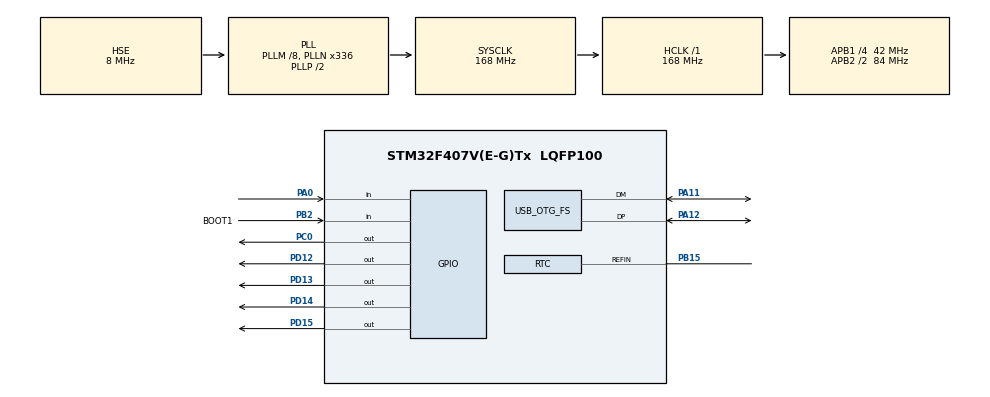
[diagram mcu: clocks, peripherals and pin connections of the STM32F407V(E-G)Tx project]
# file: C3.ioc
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Mcu.Family=STM32F4
Mcu.Name=STM32F407V(E-G)Tx
Mcu.Package=LQFP100
NVIC.OTG_FS_IRQn=true\:0\:0\:false\:false\:true\:false
NVIC.PriorityGroup=NVIC_PRIORITYGROUP_0
PA0-WKUP.Signal=GPIO_Input
PA11.Mode=Host_Only
PA11.Signal=USB_OTG_FS_DM
PA12.Mode=Host_Only
PA12.Signal=USB_OTG_FS_DP
PA13.GPIO_Label=SWDIO
PA13.Mode=Trace_Asynchronous_SW
PA13.Signal=SYS_JTMS-SWDIO
PA14.GPIO_Label=SWCLK
PA14.Mode=Trace_Asynchronous_SW
PA14.Signal=SYS_JTCK-SWCLK
PB15.Mode=Reference_Clock_Detection_Activate
PB15.Signal=RTC_REFIN
PB2.GPIO_Label=BOOT1
PB2.GPIO_Mode=GPIO_MODE_INPUT
PB2.GPIO_PuPd=GPIO_NOPULL
PB2.Signal=GPIO_Input
PB3.GPIO_Label=SWO
PB3.Mode=Trace_Asynchronous_SW
PB3.Signal=SYS_JTDO-SWO
PC0.Signal=GPIO_Output
PD12.Signal=GPIO_Output
PD13.Signal=GPIO_Output
PD14.Signal=GPIO_Output
PD15.Signal=GPIO_Output
PH0-OSC_IN.GPIO_Label=PH0-OSC_IN
PH0-OSC_IN.Mode=HSE-External-Oscillator
PH0-OSC_IN.Signal=RCC_OSC_IN
PH1-OSC_OUT.GPIO_Label=PH1-OSC_OUT
PH1-OSC_OUT.Mode=HSE-External-Oscillator
PH1-OSC_OUT.Signal=RCC_OSC_OUT
ProjectManager.HeapSize=0x400
ProjectManager.StackSize=0x400
ProjectManager.TargetToolchain=MDK-ARM V5
RCC.AHBFreq_Value=168000000
RCC.APB1CLKDivider=RCC_HCLK_DIV4
RCC.APB1Freq_Value=42000000
RCC.APB1TimFreq_Value=84000000
RCC.APB2CLKDivider=RCC_HCLK_DIV2
RCC.APB2Freq_Value=84000000
RCC.APB2TimFreq_Value=168000000
RCC.CortexFreq_Value=168000000
RCC.HCLKFreq_Value=168000000
RCC.HSE_VALUE=8000000
RCC.HSI_VALUE=16000000
RCC.LSE_VALUE=32768
RCC.PLLM=8
RCC.PLLN=336
RCC.PLLQ=7
RCC.SYSCLKFreq_VALUE=168000000
RCC.SYSCLKSource=RCC_SYSCLKSOURCE_PLLCLK
RCC.VCOOutputFreq_Value=336000000
USB_HOST.BSP.number=1
USB_HOST.USBH_HandleTypeDef-MSC_FS=hUsbHostFS
USB_HOST.VirtualModeFS=Msc
USB_HOST0.BSP.STBoard=false
USB_HOST0.BSP.api=UnknownBspDriver
USB_HOST0.BSP.i2caddr=0
USB_HOST0.BSP.i2creg=0
USB_HOST0.BSP.instance=PC0
USB_HOST0.BSP.ip=GPIO
USB_HOST0.BSP.mode=Output
USB_HOST0.BSP.name=Drive_VBUS_FS
USB_HOST0.BSP.solution=PC0
USB_OTG_FS.VirtualMode=Host_Only
USB_OTG_FS.phy_itface=HCD_PHY_EMBEDDED
VP_FATFS_VS_USB.Mode=USB
VP_RTC_VS_RTC_Activate.Mode=RTC_Enabled
VP_USB_HOST_VS_USB_HOST_MSC_FS.Mode=MSC_FS
board=STM32F4DISCOVERY

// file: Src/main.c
/**
  ******************************************************************************
  * @file           : main.c
  * @brief          : Main program body
  ******************************************************************************
  * This notice applies to any and all portions of this file
  * that are not between comment pairs USER CODE BEGIN and
  * USER CODE END. Other portions of this file, whether
  * inserted by the user or by software development tools
  * are owned by their respective copyright owners.
  *
  * Copyright (c) 2018 STMicroelectronics International N.V.
  * All rights reserved.
  *
  * Redistribution and use in source and binary forms, with or without
  * modification, are permitted, provided that the following conditions are met:
  *
  * 1. Redistribution of source code must retain the above copyright notice,
  *    this list of conditions and the following disclaimer.
  * 2. Redistributions in binary form must reproduce the above copyright notice,
  *    this list of conditions and the following disclaimer in the documentation
  *    and/or other materials provided with the distribution.
  * 3. Neither the name of STMicroelectronics nor the names of other
  *    contributors to this software may be used to endorse or promote products
  *    derived from this software without specific written permission.
  * 4. This software, including modifications and/or derivative works of this
  *    software, must execute solely and exclusively on microcontroller or
  *    microprocessor devices manufactured by or for STMicroelectronics.
  * 5. Redistribution and use of this software other than as permitted under
  *    this license is void and will automatically terminate your rights under
  *    this license.
  *
  * THIS SOFTWARE IS PROVIDED BY STMICROELECTRONICS AND CONTRIBUTORS "AS IS"
  * AND ANY EXPRESS, IMPLIED OR STATUTORY WARRANTIES, INCLUDING, BUT NOT
  * LIMITED TO, THE IMPLIED WARRANTIES OF MERCHANTABILITY, FITNESS FOR A
  * PARTICULAR PURPOSE AND NON-INFRINGEMENT OF THIRD PARTY INTELLECTUAL PROPERTY
  * RIGHTS ARE DISCLAIMED TO THE FULLEST EXTENT PERMITTED BY LAW. IN NO EVENT
  * SHALL STMICROELECTRONICS OR CONTRIBUTORS BE LIABLE FOR ANY DIRECT, INDIRECT,
  * INCIDENTAL, SPECIAL, EXEMPLARY, OR CONSEQUENTIAL DAMAGES (INCLUDING, BUT NOT
  * LIMITED TO, PROCUREMENT OF SUBSTITUTE GOODS OR SERVICES; LOSS OF USE, DATA,
  * OR PROFITS; OR BUSINESS INTERRUPTION) HOWEVER CAUSED AND ON ANY THEORY OF
  * LIABILITY, WHETHER IN CONTRACT, STRICT LIABILITY, OR TORT (INCLUDING
  * NEGLIGENCE OR OTHERWISE) ARISING IN ANY WAY OUT OF THE USE OF THIS SOFTWARE,
  * EVEN IF ADVISED OF THE POSSIBILITY OF SUCH DAMAGE.
  *
  ******************************************************************************
  */
#include "main.h"
#include "stm32f4xx_hal.h"
#include "fatfs.h"
#include "usb_host.h"

/* USER CODE BEGIN Includes */
#include "retar.c"
#include "stm32fxx_hal_rtc.c"
/* USER CODE END Includes */

RTC_HandleTypeDef hrtc;

/* USER CODE BEGIN PV */
/* Private variables ---------------------------------------------------------*/
FATFS USBDISKFatFs;
FIL MyFile;
uint8_t USBstate;
/* USER CODE END PV */

void SystemClock_Config(void);
static void MX_GPIO_Init(void);
static void MX_RTC_Init(void);
void MX_USB_HOST_Process(void);

/* USER CODE BEGIN PFP */
/* Private function prototypes -----------------------------------------------*/

/* USER CODE END PFP */

int main(void)
{
  /* USER CODE BEGIN 1 */
	RTC_TimeTypeDef sTime;
  /* USER CODE END 1 */

  /* MCU Configuration----------------------------------------------------------*/

  /* Reset of all peripherals, Initializes the Flash interface and the Systick. */
  HAL_Init();

  /* Configure the system clock */
  SystemClock_Config();

  /* Initialize all configured peripherals */
  MX_GPIO_Init();
  MX_RTC_Init();
  MX_USB_HOST_Init();
  MX_FATFS_Init();
  /* USER CODE BEGIN 2 */
	HAL_Delay(10);
	printf("Started...\n");
	HAL_Delay(10);
	printf("%d\n",HAL_RCC_GetHCLKFreq());
	printf("%d\n",HAL_GetTick());
	HAL_Delay(1000);
	printf("%d\n",HAL_GetTick());
	sTime.Hours=16;
	sTime.Minutes=01;
	sTime.Seconds=23;
	sTime.SubSeconds=0;
	HAL_RTC_SetTime (&hrtc, &sTime, RTC_FORMAT_BIN);
	uint32_t OldClk, NewClk, cnt;
	OldClk = HAL_GetTick();
	printf("%d\n\r",f_mount(&USBDISKFatFs, (TCHAR const*)&USBHPath, 0));
  /* USER CODE END 2 */

  /* Infinite loop */
  while (1)
  {
    MX_USB_HOST_Process();

  /* USER CODE BEGIN 3 */
			HAL_GPIO_TogglePin(GPIOD, GPIO_PIN_12);

			if ( HAL_GPIO_ReadPin(GPIOA,GPIO_PIN_0) )
				HAL_GPIO_WritePin(GPIOD, GPIO_PIN_15, GPIO_PIN_SET);
			else
				HAL_GPIO_WritePin(GPIOD, GPIO_PIN_15, GPIO_PIN_RESET);

//			HAL_RTC_GetTime (&hrtc, &sTime, RTC_FORMAT_BIN);
//			printf("%d:%d:%d\n",sTime. Hours, sTime.Minutes, sTime.Seconds);
//			HAL_Delay(2400);
			NewClk=HAL_GetTick();
			if ( NewClk > (OldClk+2400) )	{
				cnt++;
				HAL_GPIO_TogglePin(GPIOD,GPIO_PIN_13);
				OldClk=NewClk;
				if (  f_open(&MyFile, "STM.TXT", FA_OPEN_EXISTING | FA_READ| FA_WRITE) == FR_OK )	{
							f_lseek(&MyFile, f_size(&MyFile));
							HAL_RTC_GetTime (&hrtc, &sTime, RTC_FORMAT_BIN);
							f_printf(&MyFile, "%d:",sTime.Hours);
							f_printf(&MyFile, "%d:",sTime.Minutes);
							f_printf(&MyFile, "%d\n",sTime.Seconds);
							f_close(&MyFile);
							printf("Written to the STM.TXT file:%d\n\r",cnt);
				}
				else 	{
					printf("STM.TXT file opening error. CNT=%d\n\r", cnt);
					f_close(&MyFile);
				}
			}
  }
  /* USER CODE END 3 */

}

void SystemClock_Config(void)
{

  RCC_OscInitTypeDef RCC_OscInitStruct;
  RCC_ClkInitTypeDef RCC_ClkInitStruct;
  RCC_PeriphCLKInitTypeDef PeriphClkInitStruct;

    /**Configure the main internal regulator output voltage
    */
  __HAL_RCC_PWR_CLK_ENABLE();

  __HAL_PWR_VOLTAGESCALING_CONFIG(PWR_REGULATOR_VOLTAGE_SCALE1);

    /**Initializes the CPU, AHB and APB busses clocks
    */
  RCC_OscInitStruct.OscillatorType = RCC_OSCILLATORTYPE_LSI|RCC_OSCILLATORTYPE_HSE;
  RCC_OscInitStruct.HSEState = RCC_HSE_ON;
  RCC_OscInitStruct.LSIState = RCC_LSI_ON;
  RCC_OscInitStruct.PLL.PLLState = RCC_PLL_ON;
  RCC_OscInitStruct.PLL.PLLSource = RCC_PLLSOURCE_HSE;
  RCC_OscInitStruct.PLL.PLLM = 8;
  RCC_OscInitStruct.PLL.PLLN = 336;
  RCC_OscInitStruct.PLL.PLLP = RCC_PLLP_DIV2;
  RCC_OscInitStruct.PLL.PLLQ = 7;
  if (HAL_RCC_OscConfig(&RCC_OscInitStruct) != HAL_OK)
  {
    _Error_Handler(__FILE__, __LINE__);
  }

    /**Initializes the CPU, AHB and APB busses clocks
    */
  RCC_ClkInitStruct.ClockType = RCC_CLOCKTYPE_HCLK|RCC_CLOCKTYPE_SYSCLK
                              |RCC_CLOCKTYPE_PCLK1|RCC_CLOCKTYPE_PCLK2;
  RCC_ClkInitStruct.SYSCLKSource = RCC_SYSCLKSOURCE_PLLCLK;
  RCC_ClkInitStruct.AHBCLKDivider = RCC_SYSCLK_DIV1;
  RCC_ClkInitStruct.APB1CLKDivider = RCC_HCLK_DIV4;
  RCC_ClkInitStruct.APB2CLKDivider = RCC_HCLK_DIV2;

  if (HAL_RCC_ClockConfig(&RCC_ClkInitStruct, FLASH_LATENCY_5) != HAL_OK)
  {
    _Error_Handler(__FILE__, __LINE__);
  }

  PeriphClkInitStruct.PeriphClockSelection = RCC_PERIPHCLK_RTC;
  PeriphClkInitStruct.RTCClockSelection = RCC_RTCCLKSOURCE_LSI;
  if (HAL_RCCEx_PeriphCLKConfig(&PeriphClkInitStruct) != HAL_OK)
  {
    _Error_Handler(__FILE__, __LINE__);
  }

    /**Configure the Systick interrupt time
    */
  HAL_SYSTICK_Config(HAL_RCC_GetHCLKFreq()/1000);

    /**Configure the Systick
    */
  HAL_SYSTICK_CLKSourceConfig(SYSTICK_CLKSOURCE_HCLK);

  /* SysTick_IRQn interrupt configuration */
  HAL_NVIC_SetPriority(SysTick_IRQn, 0, 0);
}

/* RTC init function */
static void MX_RTC_Init(void)
{

    /**Initialize RTC Only
    */
  hrtc.Instance = RTC;
  hrtc.Init.HourFormat = RTC_HOURFORMAT_24;
  hrtc.Init.AsynchPrediv = 127;
  hrtc.Init.SynchPrediv = 255;
  hrtc.Init.OutPut = RTC_OUTPUT_DISABLE;
  hrtc.Init.OutPutPolarity = RTC_OUTPUT_POLARITY_HIGH;
  hrtc.Init.OutPutType = RTC_OUTPUT_TYPE_OPENDRAIN;
  if (HAL_RTC_Init(&hrtc) != HAL_OK)
  {
    _Error_Handler(__FILE__, __LINE__);
  }

    /**Enable the reference Clock input
    */
  if (HAL_RTCEx_SetRefClock(&hrtc) != HAL_OK)
  {
    _Error_Handler(__FILE__, __LINE__);
  }

}

/** Configure pins as
        * Analog
        * Input
        * Output
        * EVENT_OUT
        * EXTI
        * Free pins are configured automatically as Analog (this feature is enabled through
        * the Code Generation settings)
*/
static void MX_GPIO_Init(void)
{

  GPIO_InitTypeDef GPIO_InitStruct;

  /* GPIO Ports Clock Enable */
  __HAL_RCC_GPIOE_CLK_ENABLE();
  __HAL_RCC_GPIOC_CLK_ENABLE();
  __HAL_RCC_GPIOH_CLK_ENABLE();
  __HAL_RCC_GPIOA_CLK_ENABLE();
  __HAL_RCC_GPIOB_CLK_ENABLE();
  __HAL_RCC_GPIOD_CLK_ENABLE();

  /*Configure GPIO pin Output Level */
  HAL_GPIO_WritePin(GPIOC, GPIO_PIN_0, GPIO_PIN_RESET);

  /*Configure GPIO pin Output Level */
  HAL_GPIO_WritePin(GPIOD, GPIO_PIN_12|GPIO_PIN_13|GPIO_PIN_14|GPIO_PIN_15, GPIO_PIN_RESET);

  /*Configure GPIO pins : PE2 PE3 PE4 PE5
                           PE6 PE7 PE8 PE9
                           PE10 PE11 PE12 PE13
                           PE14 PE15 PE0 PE1 */
  GPIO_InitStruct.Pin = GPIO_PIN_2|GPIO_PIN_3|GPIO_PIN_4|GPIO_PIN_5
                          |GPIO_PIN_6|GPIO_PIN_7|GPIO_PIN_8|GPIO_PIN_9
                          |GPIO_PIN_10|GPIO_PIN_11|GPIO_PIN_12|GPIO_PIN_13
                          |GPIO_PIN_14|GPIO_PIN_15|GPIO_PIN_0|GPIO_PIN_1;
  GPIO_InitStruct.Mode = GPIO_MODE_ANALOG;
  GPIO_InitStruct.Pull = GPIO_NOPULL;
  HAL_GPIO_Init(GPIOE, &GPIO_InitStruct);

  /*Configure GPIO pins : PC13 PC14 PC15 PC1
                           PC2 PC3 PC4 PC5
                           PC6 PC7 PC8 PC9
                           PC10 PC11 PC12 */
  GPIO_InitStruct.Pin = GPIO_PIN_13|GPIO_PIN_14|GPIO_PIN_15|GPIO_PIN_1
                          |GPIO_PIN_2|GPIO_PIN_3|GPIO_PIN_4|GPIO_PIN_5
                          |GPIO_PIN_6|GPIO_PIN_7|GPIO_PIN_8|GPIO_PIN_9
                          |GPIO_PIN_10|GPIO_PIN_11|GPIO_PIN_12;
  GPIO_InitStruct.Mode = GPIO_MODE_ANALOG;
  GPIO_InitStruct.Pull = GPIO_NOPULL;
  HAL_GPIO_Init(GPIOC, &GPIO_InitStruct);

  /*Configure GPIO pin : PC0 */
  GPIO_InitStruct.Pin = GPIO_PIN_0;
  GPIO_InitStruct.Mode = GPIO_MODE_OUTPUT_PP;
  GPIO_InitStruct.Pull = GPIO_NOPULL;
  GPIO_InitStruct.Speed = GPIO_SPEED_FREQ_LOW;
  HAL_GPIO_Init(GPIOC, &GPIO_InitStruct);

  /*Configure GPIO pin : PA0 */
  GPIO_InitStruct.Pin = GPIO_PIN_0;
  GPIO_InitStruct.Mode = GPIO_MODE_INPUT;
  GPIO_InitStruct.Pull = GPIO_NOPULL;
  HAL_GPIO_Init(GPIOA, &GPIO_InitStruct);

  /*Configure GPIO pins : PA1 PA2 PA3 PA4
                           PA5 PA6 PA7 PA8
                           PA9 PA10 PA15 */
  GPIO_InitStruct.Pin = GPIO_PIN_1|GPIO_PIN_2|GPIO_PIN_3|GPIO_PIN_4
                          |GPIO_PIN_5|GPIO_PIN_6|GPIO_PIN_7|GPIO_PIN_8
                          |GPIO_PIN_9|GPIO_PIN_10|GPIO_PIN_15;
  GPIO_InitStruct.Mode = GPIO_MODE_ANALOG;
  GPIO_InitStruct.Pull = GPIO_NOPULL;
  HAL_GPIO_Init(GPIOA, &GPIO_InitStruct);

  /*Configure GPIO pins : PB0 PB1 PB10 PB11
                           PB12 PB13 PB14 PB4
                           PB5 PB6 PB7 PB8
                           PB9 */
  GPIO_InitStruct.Pin = GPIO_PIN_0|GPIO_PIN_1|GPIO_PIN_10|GPIO_PIN_11
                          |GPIO_PIN_12|GPIO_PIN_13|GPIO_PIN_14|GPIO_PIN_4
                          |GPIO_PIN_5|GPIO_PIN_6|GPIO_PIN_7|GPIO_PIN_8
                          |GPIO_PIN_9;
  GPIO_InitStruct.Mode = GPIO_MODE_ANALOG;
  GPIO_InitStruct.Pull = GPIO_NOPULL;
  HAL_GPIO_Init(GPIOB, &GPIO_InitStruct);

  /*Configure GPIO pin : BOOT1_Pin */
  GPIO_InitStruct.Pin = BOOT1_Pin;
  GPIO_InitStruct.Mode = GPIO_MODE_INPUT;
  GPIO_InitStruct.Pull = GPIO_NOPULL;
  HAL_GPIO_Init(BOOT1_GPIO_Port, &GPIO_InitStruct);

  /*Configure GPIO pins : PD8 PD9 PD10 PD11
                           PD0 PD1 PD2 PD3
                           PD4 PD5 PD6 PD7 */
  GPIO_InitStruct.Pin = GPIO_PIN_8|GPIO_PIN_9|GPIO_PIN_10|GPIO_PIN_11
                          |GPIO_PIN_0|GPIO_PIN_1|GPIO_PIN_2|GPIO_PIN_3
                          |GPIO_PIN_4|GPIO_PIN_5|GPIO_PIN_6|GPIO_PIN_7;
  GPIO_InitStruct.Mode = GPIO_MODE_ANALOG;
  GPIO_InitStruct.Pull = GPIO_NOPULL;
  HAL_GPIO_Init(GPIOD, &GPIO_InitStruct);

  /*Configure GPIO pins : PD12 PD13 PD14 PD15 */
  GPIO_InitStruct.Pin = GPIO_PIN_12|GPIO_PIN_13|GPIO_PIN_14|GPIO_PIN_15;
  GPIO_InitStruct.Mode = GPIO_MODE_OUTPUT_PP;
  GPIO_InitStruct.Pull = GPIO_NOPULL;
  GPIO_InitStruct.Speed = GPIO_SPEED_FREQ_LOW;
  HAL_GPIO_Init(GPIOD, &GPIO_InitStruct);

}

void _Error_Handler(char *file, int line)
{
  while(1)
  {
  }
}

/************************ (C) COPYRIGHT STMicroelectronics *****END OF FILE****/
